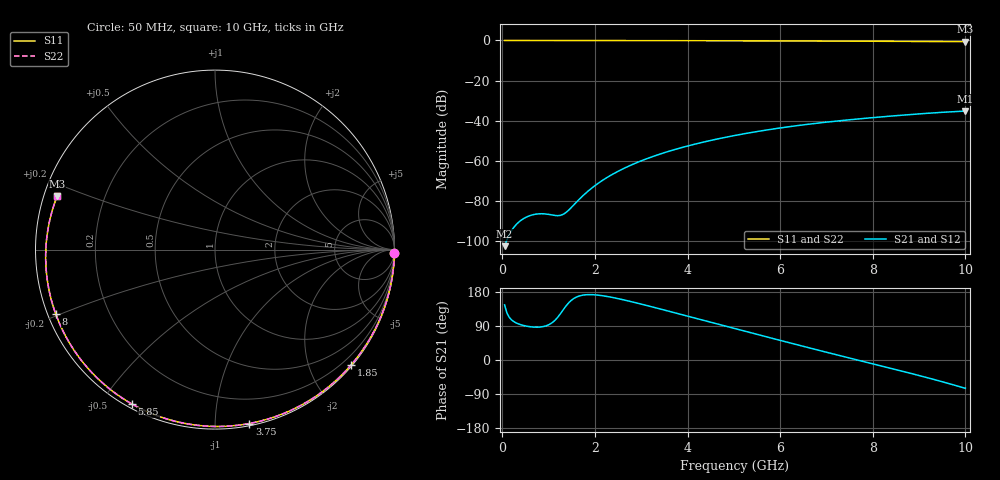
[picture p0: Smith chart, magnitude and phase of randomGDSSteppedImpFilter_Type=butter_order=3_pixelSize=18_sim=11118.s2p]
! freq	dB(S11)	phase(S11)	dB(S12)	phase(S12)
!  dB(S21)	phase(S21)	dB(S22)	phase(S22)
!S-par simulation data
#  GHz  S  DB  R 50
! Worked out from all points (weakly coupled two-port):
!   200 points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, 50 MHz to 10 GHz, reference 50 ohm
!   highest |S21| = -35.23 dB at 10 GHz (marker M1); lowest = -102.6 dB at 50 MHz (marker M2)
!   lowest |S11| = -0.6 dB at 10 GHz (marker M3), VSWR 27.01, Z = 1.9 + j8.21 ohm
!   |S11| at or under -10 dB: nowhere
!   |S22| runs from -0.6 to 0.0 dB; largest |S21 - S12| = 0
!   S11 on the Smith chart (normalised r, x): 50 MHz: open; 1.85 GHz: 0.02, -2.73; 3.75 GHz: 0.02, -1.22; 5.85 GHz: 0.02, -0.60; 8 GHz: 0.02, -0.20; 10 GHz: 0.04, +0.16
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0.05  -0.00 -1.1  -102.58 145.5  -102.58 145.5  -0.00 -1.1
0.4  -0.01 -8.9  -89.75 93.1  -89.75 93.1  -0.01 -8.8
0.8  -0.02 -17.6  -86.44 86.8  -86.44 86.8  -0.02 -17.6
1.6  -0.04 -34.9  -80.66 166.0  -80.66 166.0  -0.04 -34.9
1.65  -0.05 -35.9  -79.47 168.5  -79.47 168.5  -0.05 -35.9
1.75  -0.05 -38.0  -77.23 171.4  -77.23 171.4  -0.05 -38.0
1.85  -0.05 -40.2  -75.17 172.5  -75.17 172.5  -0.05 -40.2
2.15  -0.06 -46.5  -69.97 169.9  -69.97 169.9  -0.06 -46.5
2.5  -0.07 -53.7  -65.25 162.0  -65.25 162.0  -0.07 -53.7
2.9  -0.08 -61.9  -60.96 150.6  -60.96 150.6  -0.08 -61.9
3.4  -0.10 -71.9  -56.70 135.0  -56.70 135.0  -0.10 -71.9
3.75  -0.11 -78.8  -54.22 123.8  -54.22 123.8  -0.11 -78.8
4.4  -0.13 -91.3  -50.38 102.9  -50.38 102.9  -0.13 -91.3
5.05  -0.16 -103.6  -47.26 82.1  -47.26 82.1  -0.16 -103.5
5.85  -0.20 -118.3  -44.14 56.5  -44.14 56.5  -0.20 -118.3
6.7  -0.26 -133.8  -41.52 29.8  -41.52 29.8  -0.26 -133.8
7.35  -0.32 -145.7  -39.89 9.7  -39.89 9.7  -0.32 -145.7
8  -0.38 -157.9  -38.48 -10.1  -38.48 -10.1  -0.38 -157.8
8.35  -0.42 -164.6  -37.79 -20.8  -37.79 -20.8  -0.42 -164.5
9.2  -0.52 178.5  -36.29 -47.4  -36.29 -47.4  -0.52 178.6
9.6  -0.58 170.1  -35.69 -60.7  -35.69 -60.7  -0.58 170.1
10  -0.64 161.3  -35.23 -74.7  -35.23 -74.7  -0.64 161.4
